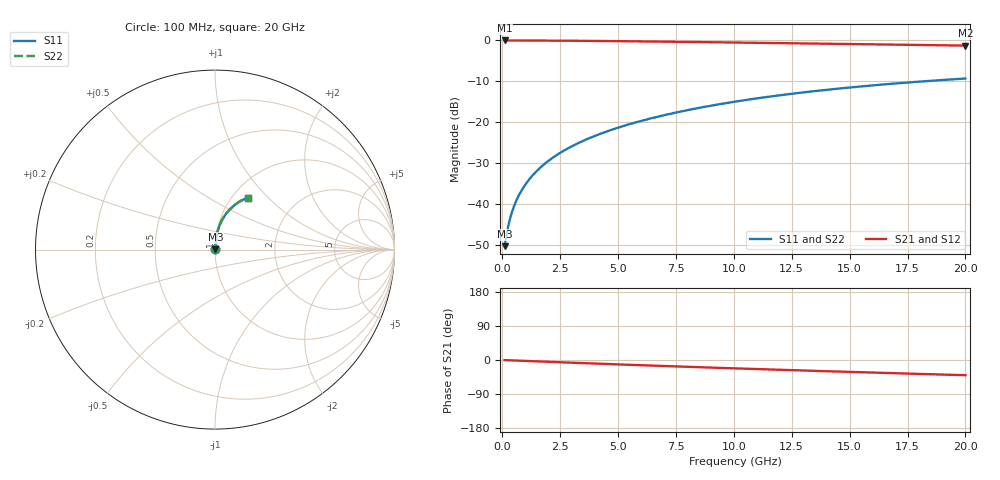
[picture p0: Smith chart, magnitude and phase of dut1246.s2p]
! Touchstone file exported from HFSS 2024.1.0
!  File:  C:/UserFiles/LocalFiles/RDL_TSV_Batchsim/temp_RDL_top_1246_1780241221.aedt
!  Generated:  11:29:16 PM May 31, 2026
!  Design:  RDL_top
!  Project:  temp_RDL_top_1246_1780241221
!  Setup:  Setup1
!  Solution:  Sweep
! Variables:
!  dtsv = 10.80580581um
!  hbump = 3um
!  htsv = 83.88um
!  ldown = 100um
!  lrdl = 599.49um
!  p = 40
!  p1 = 44.67um
!  rhole = 1um
!  t = 450um
!  tdown = 3.915915916um
!  trdl = 4.6um
!  wdown = 15.38538539um
!  wrdl = 20.41um
# GHz S MA R 50.000000
! Terminal data exported
! Port[1] = Box2_T1
! Port[2] = Box2_T2
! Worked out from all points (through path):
!   200 points, 100 MHz to 20 GHz, reference 50 ohm
!   highest |S21| = -0.02 dB at 100 MHz (marker M1); lowest = -1.3 dB at 20 GHz (marker M2)
!   group delay of S21, straight-line fit = 5.53 ps
!   lowest |S11| = -50.3 dB at 100 MHz (marker M3), VSWR 1.01, Z = 50.2 + j0.188 ohm
!   |S11| at or under -10 dB: start of sweep to 18.21 GHz
!   |S22| runs from -50.3 to -9.3 dB; largest |S21 - S12| = 2.3e-15
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0.1  0.003061 37.7  0.9976 -0.3  0.9976 -0.3  0.003061 37.7
! Gamma 0 0 0 0
! Port Impedance 50 0 50 0
0.2  0.004485 55.5  0.9974 -0.5  0.9974 -0.5  0.004485 55.5
0.3  0.006086 63.7  0.9972 -0.7  0.9972 -0.7  0.006086 63.7
0.4  0.007709 68.3  0.997 -1.0  0.997 -1.0  0.00771 68.3
0.5  0.009325 71.3  0.9969 -1.2  0.9969 -1.2  0.009326 71.3
0.6  0.01093 73.5  0.9967 -1.5  0.9967 -1.5  0.01093 73.5
0.8  0.01415 76.5  0.9964 -1.9  0.9964 -1.9  0.01415 76.5
1.1  0.019 79.2  0.9958 -2.7  0.9958 -2.7  0.019 79.2
1.3  0.02227 80.4  0.9954 -3.1  0.9954 -3.1  0.02227 80.4
1.6  0.02721 81.6  0.9946 -3.8  0.9946 -3.8  0.02721 81.6
2.1  0.03553 82.8  0.9931 -5.0  0.9931 -5.0  0.03553 82.8
2.7  0.04566 83.4  0.9907 -6.4  0.9907 -6.4  0.04567 83.4
3.5  0.05939 83.6  0.9869 -8.3  0.9869 -8.3  0.0594 83.6
4.2  0.07161 83.3  0.983 -9.9  0.983 -9.9  0.07162 83.4
5  0.0858 82.8  0.9781 -11.6  0.9781 -11.6  0.08581 82.8
6.8  0.1184 80.8  0.9658 -15.5  0.9658 -15.5  0.1185 80.8
8.4  0.1479 78.5  0.954 -18.8  0.954 -18.8  0.148 78.5
10.1  0.1793 75.7  0.9409 -22.2  0.9409 -22.2  0.1793 75.7
11.7  0.2083 72.9  0.9285 -25.3  0.9285 -25.3  0.2084 72.9
13.4  0.2384 69.7  0.915 -28.5  0.915 -28.5  0.2385 69.8
16.7  0.2931 63.7  0.8889 -34.5  0.8889 -34.5  0.2932 63.7
20  0.3421 57.8  0.863 -40.1  0.863 -40.1  0.3423 57.8
